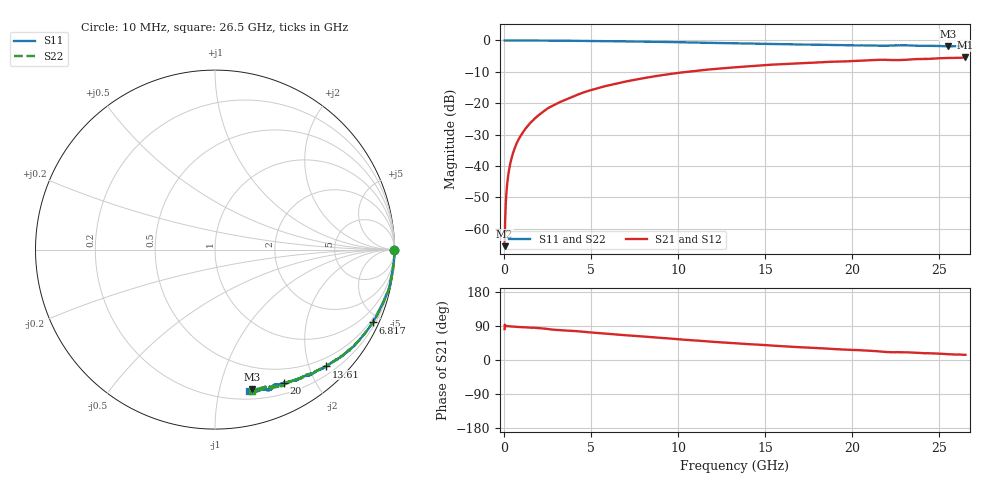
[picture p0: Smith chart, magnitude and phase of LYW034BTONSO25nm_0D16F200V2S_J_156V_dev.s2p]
!Keysight Technologies,N5222B,MY61253708,A.15.00.15
!Date: Wednesday, June 19, 2024 10:14:00
!Correction: S11(C  2-Port  )
!S21(C  2-Port  )
!S12(C  2-Port  )
!S22(C  2-Port  )
!S2P File: Measurements: S11, S21, S12, S22:
# Hz S  RI  R 50
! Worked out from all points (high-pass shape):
!   2651 points, 10 MHz to 26.5 GHz, reference 50 ohm
!   highest |S21| = -5.42 dB at 26.5 GHz (marker M1); lowest = -65.6 dB at 10 MHz (marker M2)
!   |S21| within 3 dB of the highest: 13.58 GHz to end of sweep
!   lowest |S11| = -1.9 dB at 25.5 GHz (marker M3), VSWR 9.17, Z = 14.4 - j63.1 ohm
!   |S11| at or under -10 dB: nowhere
!   |S22| runs from -1.8 to 0.0 dB; largest |S21 - S12| = 0.0059
!   S11 on the Smith chart (normalised r, x): 10 MHz: open; 6.817 GHz: 0.36, -4.52; 13.61 GHz: 0.34, -2.29; 20 GHz: 0.33, -1.60; 26.5 GHz: 0.27, -1.23
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1e7  0.9986 -0.00321  7.85e-05 0.000519  8.2e-05 0.000247  0.9987 -0.00172
7.997358e7  1 -0.00572  1.97e-05 0.0026  1.47e-05 0.00259  0.9995 -0.00512
1.499472e8  1 -0.0107  4.2e-05 0.0049  4.41e-05 0.0049  0.9997 -0.00993
1.899321e8  1 -0.0127  6.08e-05 0.0062  9.17e-05 0.00622  0.9999 -0.0117
2.499094e8  0.9997 -0.0169  0.000139 0.00815  0.000149 0.00817  0.9995 -0.016
3.498717e8  0.9997 -0.0236  0.000267 0.0114  0.000232 0.0115  0.9997 -0.0225
4.798226e8  0.9988 -0.0322  0.000495 0.0156  0.000461 0.0157  0.9983 -0.0308
6.397623e8  0.9988 -0.0423  0.000857 0.0208  0.000849 0.0208  0.9985 -0.0408
8.296906e8  0.9981 -0.0547  0.00142 0.0269  0.00145 0.027  0.998 -0.0535
1.449457e9  0.9912 -0.0964  0.00336 0.0472  0.00343 0.0473  0.9934 -0.092
2.339121e9  0.9824 -0.1506  0.00971 0.077  0.00985 0.0772  0.9837 -0.1499
3.208792e9  0.972 -0.2055  0.0204 0.1025  0.0206 0.1029  0.9727 -0.2031
4.428332e9  0.9442 -0.2779  0.0372 0.1396  0.0375 0.1401  0.9466 -0.2734
6.81743e9  0.8785 -0.4057  0.0885 0.1978  0.0895 0.1982  0.8811 -0.4019
8.846664e9  0.8076 -0.4991  0.1416 0.2347  0.1427 0.235  0.8111 -0.495
1.3255e10  0.6334 -0.6406  0.2673 0.2605  0.269 0.2599  0.6407 -0.6365
1.361486e10  0.6198 -0.6509  0.2769 0.2595  0.2779 0.2587  0.6256 -0.6445
1.767333e10  0.4624 -0.7222  0.3736 0.2346  0.3762 0.2327  0.4771 -0.7177
2.000245e10  0.384 -0.7411  0.4198 0.2095  0.4221 0.2069  0.4012 -0.7396
2.209166e10  0.3268 -0.7567  0.4571 0.174  0.4582 0.1709  0.3256 -0.7622
2.550038e10  0.2072 -0.7761  0.5072 0.1383  0.508 0.1375  0.2326 -0.7786
2.65e10  0.1877 -0.7899  0.5206 0.1269  0.5195 0.123  0.2062 -0.7884
